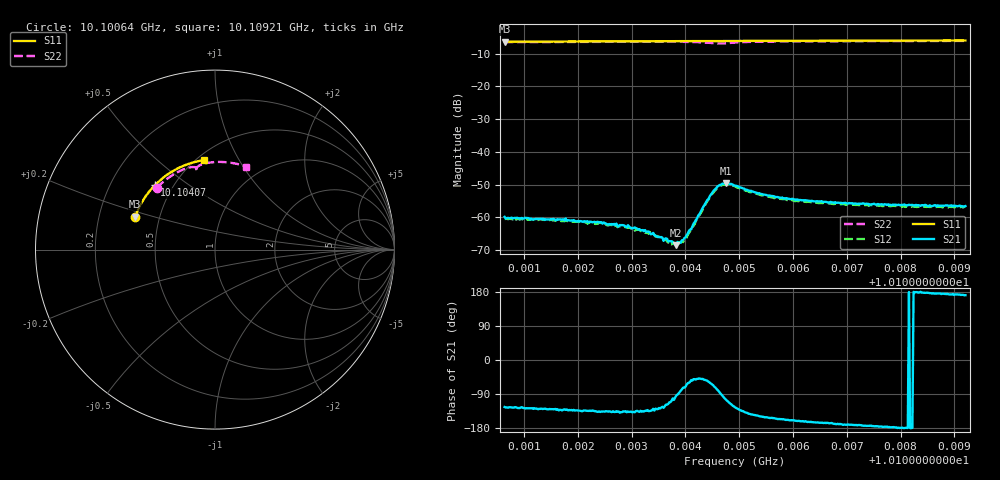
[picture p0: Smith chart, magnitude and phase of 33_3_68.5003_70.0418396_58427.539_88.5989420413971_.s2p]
#  HZ  S  RI  R  50.00
! Rohde & Schwarz Vector Network Analyzer
! Rohde-Schwarz,ZNB20-2Port,1311601062101988,3.16
! Created: UTC 3/20/2024, 5:05:10 PM
! freq[Hz]  re:S11  im:S11  re:S21  im:S21  re:S12  im:S12  re:S22  im:S22
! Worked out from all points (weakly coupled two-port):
!   401 points, 10.10064 GHz to 10.10921 GHz, reference 50 ohm
!   highest |S21| = -49.59 dB at 10.10475 GHz (marker M1); lowest = -68.4 dB at 10.10383 GHz (marker M2)
!   lowest |S11| = -6.4 dB at 10.10064 GHz (marker M3), VSWR 2.85, Z = 18.1 + j8.61 ohm
!   |S11| at or under -10 dB: nowhere
!   |S22| runs from -6.9 to -6.1 dB; largest |S21 - S12| = 0.00033
!   S11 on the Smith chart (normalised r, x): 10.10064 GHz: 0.36, +0.17; 10.10407 GHz: 0.40, +0.37; 10.10921 GHz: 0.54, +0.72
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1.0100638e10  -0.4444 0.1826  -0.000571 -0.000844  -0.000452 -0.000829  -0.3228 0.3458
1.0101388e10  -0.4273 0.2249  -0.000569 -0.000717  -0.000534 -0.000742  -0.2871 0.3788
1.0102073e10  -0.4083 0.2621  -0.000616 -0.000608  -0.000518 -0.000668  -0.2517 0.4056
1.0102459e10  -0.3961 0.2822  -0.000577 -0.000555  -0.000516 -0.000571  -0.2304 0.4193
1.0102823e10  -0.3838 0.3005  -0.000563 -0.000514  -0.000472 -0.000537  -0.2093 0.4311
1.0103294e10  -0.3668 0.3235  -0.000406 -0.000448  -0.000386 -0.000465  -0.1807 0.4447
1.0103509e10  -0.3582 0.3334  -0.0003 -0.000404  -0.000275 -0.000424  -0.1669 0.4502
1.0103701e10  -0.3506 0.3423  -0.000161 -0.000404  -0.000126 -0.000406  -0.1539 0.4546
1.010383e10  -0.3455 0.3481  -2.69e-05 -0.000379  7.56e-07 -0.000363  -0.1447 0.457
1.0103873e10  -0.3436 0.3499  1.12e-05 -0.000413  4.36e-05 -0.000393  -0.1416 0.4577
1.0103958e10  -0.3402 0.3538  0.000134 -0.000439  0.000154 -0.000389  -0.1352 0.459
1.0104066e10  -0.3357 0.3585  0.000309 -0.000538  0.000327 -0.00047  -0.127 0.4599
1.0104365e10  -0.3227 0.3712  0.000974 -0.00128  0.00104 -0.00113  -0.1028 0.4556
1.0104494e10  -0.3169 0.3764  0.00101 -0.0021  0.00117 -0.00194  -0.096 0.4481
1.0104622e10  -0.3111 0.3815  0.000375 -0.00303  0.000609 -0.00286  -0.0974 0.4411
1.0104751e10  -0.3054 0.3866  -0.000818 -0.00321  -0.000512 -0.00315  -0.1031 0.4434
1.0104922e10  -0.2975 0.3933  -0.00174 -0.0025  -0.00149 -0.00258  -0.1016 0.4554
1.0105308e10  -0.2792 0.4078  -0.00197 -0.00134  -0.00178 -0.00148  -0.0775 0.4735
1.0105608e10  -0.2644 0.4185  -0.00188 -0.000973  -0.00172 -0.00108  -0.0567 0.4802
1.0106358e10  -0.226 0.4424  -0.00172 -0.000491  -0.00156 -0.000621  -0.00605 0.4876
1.0107793e10  -0.1466 0.4779  -0.00154 -8.41e-05  -0.00147 -0.000215  0.0871 0.4838
1.0109207e10  -0.0638 0.4983  -0.00147 0.000232  -0.00142 7.1e-05  0.1749 0.4626
